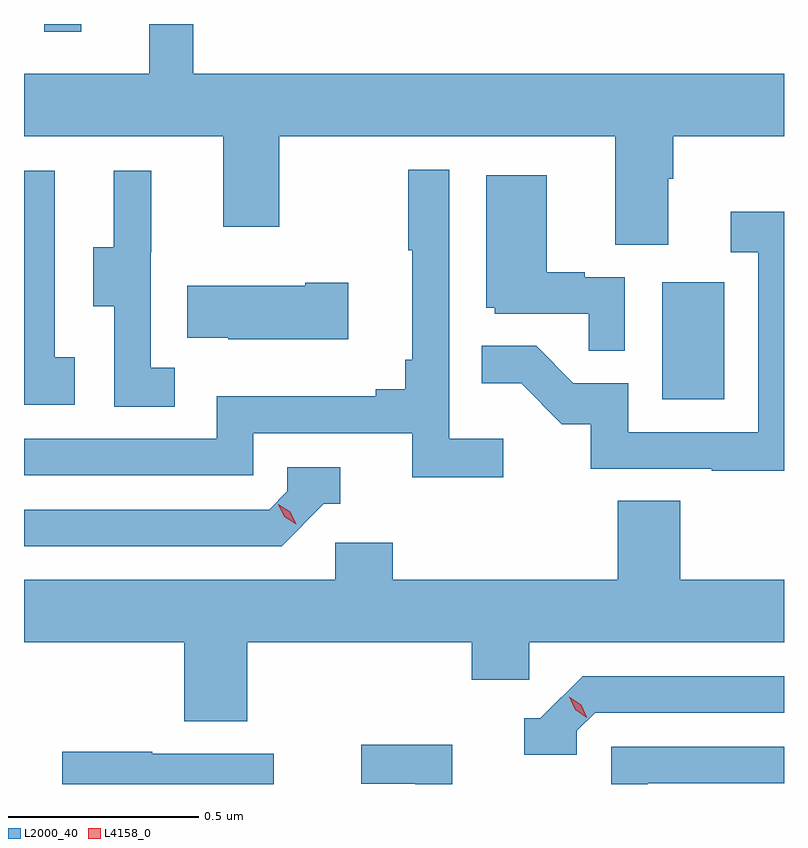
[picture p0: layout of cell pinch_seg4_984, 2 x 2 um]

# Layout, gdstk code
import gdstk
lib = gdstk.Library(unit=1e-6, precision=1e-09)
def R(c, l, rs):  # rectangles x0, y0, x1, y1
    for r in rs: c.add(gdstk.rectangle(r[:2], r[2:], *l))
def P(c, l, *ps):  # polygons
    for p in ps: c.add(gdstk.Polygon(p, *l))
L2000_40 = (2000, 40)
L4158_0 = (4158, 0)

pinch_seg4_984 = lib.new_cell('pinch_seg4_984')
R(pinch_seg4_984, L2000_40, [(880.868,776.148,881.032,776.455), (879.242,777.114,879.339,777.135)])
P(pinch_seg4_984, L2000_40, [(880.885,776.728),(880.898,776.728),(880.898,776.84),(881.189,776.84),(881.189,777.004),(879.635,777.004),(879.635,777.135),(879.518,777.135),(879.518,777.004),(879.189,777.004),(879.189,776.84),(879.713,776.84),(879.713,776.601),(879.861,776.601),(879.861,776.84),(880.745,776.84),(880.745,776.554),(880.885,776.554)],
  [(880.45,776.044),(880.308,776.044),(880.308,776.752),(880.2,776.752),(880.2,776.539),(880.211,776.539),(880.211,776.251),(880.192,776.251),(880.192,776.174),(880.115,776.174),(880.115,776.155),(879.696,776.155),(879.696,776.043),(879.189,776.043),(879.189,775.947),(879.792,775.947),(879.792,776.058),(880.211,776.058),(880.211,775.942),(880.45,775.942)],
  [(879.586,776.231),(879.522,776.231),(879.522,776.535),(879.524,776.535),(879.524,776.749),(879.425,776.749),(879.425,776.547),(879.371,776.547),(879.371,776.392),(879.426,776.392),(879.426,776.128),(879.586,776.128)],
  [(879.322,776.258),(879.27,776.258),(879.27,776.749),(879.189,776.749),(879.189,776.133),(879.322,776.133)],
  [(880.77,776.469),(880.664,776.469),(880.664,776.482),(880.564,776.482),(880.564,776.737),(880.406,776.737),(880.406,776.388),(880.428,776.388),(880.428,776.373),(880.675,776.373),(880.675,776.275),(880.77,776.275)],
  [(881.189,776.641),(881.049,776.641),(881.049,776.535),(881.121,776.535),(881.121,776.061),(880.779,776.061),(880.779,776.19),(880.635,776.19),(880.537,776.288),(880.393,776.288),(880.393,776.189),(880.497,776.189),(880.604,776.082),(880.681,776.082),(880.681,775.965),(880.999,775.965),(880.999,775.96),(881.189,775.96)],
  [(880.042,776.454),(879.929,776.454),(879.929,776.446),(879.619,776.446),(879.619,776.309),(879.727,776.309),(879.727,776.306),(880.042,776.306)],
  [(879.978,775.872),(880.021,775.872),(880.021,775.968),(879.882,775.968),(879.882,775.905),(879.834,775.857),(879.189,775.857),(879.189,775.761),(879.867,775.761)],
  [(879.776,775.508),(880.367,775.508),(880.367,775.41),(880.518,775.41),(880.518,775.508),(881.189,775.508),(881.189,775.672),(880.916,775.672),(880.916,775.88),(880.751,775.88),(880.751,775.672),(880.16,775.672),(880.16,775.77),(880.008,775.77),(880.008,775.672),(879.189,775.672),(879.189,775.508),(879.611,775.508),(879.611,775.3),(879.776,775.3)],
  [(880.644,775.275),(880.692,775.323),(881.189,775.323),(881.189,775.419),(880.659,775.419),(880.548,775.308),(880.505,775.308),(880.505,775.212),(880.644,775.212)],
  [(880.316,775.238),(880.077,775.238),(880.077,775.136),(880.218,775.136),(880.218,775.135),(880.316,775.135)],
  [(880.83,775.137),(881.189,775.137),(881.189,775.233),(880.734,775.233),(880.734,775.135),(880.83,775.135)],
  [(879.846,775.215),(879.527,775.215),(879.527,775.22),(879.289,775.22),(879.289,775.135),(879.846,775.135)])
P(pinch_seg4_984, L4158_0, [(879.905,775.819),(879.874,775.838),(879.858,775.871),(879.858,775.871),(879.858,775.871),(879.889,775.852),(879.905,775.819),(879.905,775.819)],
  [(880.67,775.31),(880.639,775.331),(880.624,775.364),(880.624,775.364),(880.624,775.364),(880.655,775.344),(880.67,775.311),(880.67,775.31)])

lib.write_gds('pinch_seg4_984.gds')
